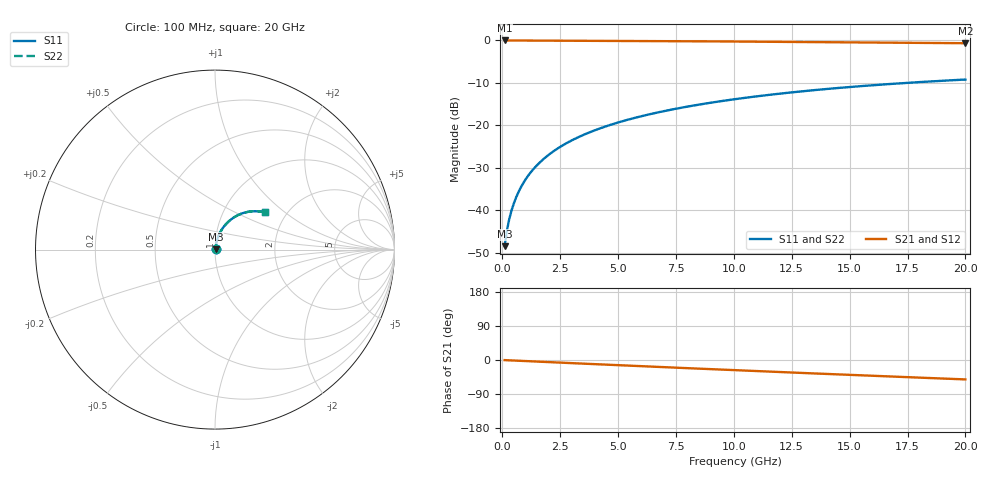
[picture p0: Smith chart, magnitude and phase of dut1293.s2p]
! Touchstone file exported from HFSS 2026.1.0
!  File:  C:/ffzhzh/LocalFiles/Ansys_Project_Files/temp_train_TMRDL_1293_1783164555_43440.aedt
!  Generated:  07:30:40 PM Jul  4, 2026
!  Design:  TMRDL
!  Project:  temp_train_TMRDL_1293_1783164555_43440
! Variables:
!  h_bsmrdl = 2um
!  h_ox = 20um
!  h_rdl = 5um
!  h_sub = 80um
!  h_tmrdl = 4.8um
!  h_tsv = 80um
!  h_via = 3um
!  l_bsmrdl = 300um
!  l_sub = 1234.72um
!  l_tmrdl = 834.72um
!  m_sub = 200um
!  pitch = 43.35um
!  r_tsv = 6um
!  s_tmrdl = 10um
!  w_bsmrdl = 18um
!  w_sub = 500um
!  w_tmrdl = 24.1um
!  x_tsv_center1 = 846.77um
!  x_tsv_center2 = 1164.77um
!  x_tsv_center3 = 2023.59um
!  x_tsv_center4 = 2341.59um
!  x_tsv_center5 = 3200.41um
!  x_tsv_center6 = 3518.41um
# GHz S MA R 50.000000
! Terminal data exported
! Port[1] = TM_RDL1_1_T1
! Port[2] = TM_RDL1_1_T2
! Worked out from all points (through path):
!   200 points, 100 MHz to 20 GHz, reference 50 ohm
!   highest |S21| = -0.02 dB at 100 MHz (marker M1); lowest = -0.7 dB at 20 GHz (marker M2)
!   group delay of S21, straight-line fit = 7.11 ps
!   lowest |S11| = -48.4 dB at 100 MHz (marker M3), VSWR 1.01, Z = 50.3 + j0.257 ohm
!   |S11| at or under -10 dB: start of sweep to 17.5 GHz
!   |S22| runs from -48.4 to -9.2 dB; largest |S21 - S12| = 4e-15
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0.1  0.003785 42.5  0.9972 -0.3  0.9972 -0.3  0.003785 42.5
! Gamma 0 0 0 0
! Port Impedance 50 0 50 0
0.2  0.005792 58.0  0.997 -0.6  0.997 -0.6  0.005792 58.0
0.3  0.007873 65.1  0.9968 -0.9  0.9968 -0.9  0.007873 65.1
0.4  0.009973 69.3  0.9966 -1.1  0.9966 -1.1  0.009973 69.3
0.5  0.0121 72.1  0.9965 -1.4  0.9965 -1.4  0.0121 72.1
0.6  0.01425 74.1  0.9964 -1.7  0.9964 -1.7  0.01425 74.1
0.8  0.01859 76.6  0.9962 -2.2  0.9962 -2.2  0.01859 76.6
1.1  0.02517 78.3  0.9959 -3.1  0.9959 -3.1  0.02517 78.3
1.5  0.03398 79.0  0.9954 -4.2  0.9954 -4.2  0.03398 79.0
1.8  0.04056 79.0  0.9949 -5.0  0.9949 -5.0  0.04056 79.0
2.1  0.04712 78.7  0.9944 -5.8  0.9944 -5.8  0.04712 78.7
2.7  0.06009 77.7  0.9931 -7.5  0.9931 -7.5  0.06009 77.7
3.5  0.07709 76.0  0.9912 -9.6  0.9912 -9.6  0.07709 76.0
4.2  0.09166 74.4  0.9893 -11.5  0.9893 -11.5  0.09166 74.4
5  0.108 72.5  0.9869 -13.7  0.9869 -13.7  0.108 72.5
5.9  0.1259 70.3  0.984 -16.0  0.984 -16.0  0.1259 70.3
6.8  0.1435 68.1  0.981 -18.4  0.981 -18.4  0.1435 68.1
8.3  0.1717 64.5  0.9755 -22.3  0.9755 -22.3  0.1717 64.5
10.1  0.2041 60.1  0.9685 -27.0  0.9685 -27.0  0.2041 60.1
13.4  0.2585 52.2  0.9543 -35.3  0.9543 -35.3  0.2585 52.2
16.7  0.3058 44.4  0.9396 -43.4  0.9396 -43.4  0.3058 44.4
20  0.3458 36.8  0.9253 -51.2  0.9253 -51.2  0.3458 36.7
